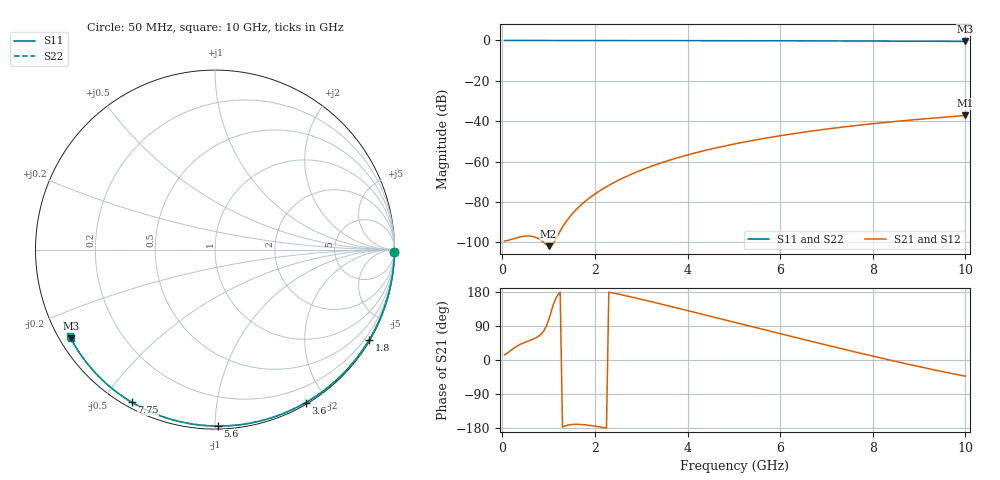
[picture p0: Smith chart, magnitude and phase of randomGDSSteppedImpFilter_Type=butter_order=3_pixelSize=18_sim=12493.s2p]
! freq	dB(S11)	phase(S11)	dB(S12)	phase(S12)
!  dB(S21)	phase(S21)	dB(S22)	phase(S22)
!S-par simulation data
#  GHz  S  DB  R 50
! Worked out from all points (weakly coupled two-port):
!   200 points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, 50 MHz to 10 GHz, reference 50 ohm
!   highest |S21| = -37.16 dB at 10 GHz (marker M1); lowest = -101.9 dB at 1 GHz (marker M2)
!   lowest |S11| = -0.5 dB at 10 GHz (marker M3), VSWR 34.53, Z = 1.56 - j14.1 ohm
!   |S11| at or under -10 dB: nowhere
!   |S22| runs from -0.5 to 0.0 dB; largest |S21 - S12| = 0
!   S11 on the Smith chart (normalised r, x): 50 MHz: open; 1.8 GHz: 0.03, -3.67; 3.6 GHz: 0.02, -1.75; 5.6 GHz: 0.02, -1.02; 7.75 GHz: 0.02, -0.59; 10 GHz: 0.03, -0.28
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0.05  -0.00 -0.9  -99.34 14.1  -99.34 14.1  -0.00 -0.9
0.5  -0.01 -8.6  -96.88 47.2  -96.88 47.2  -0.01 -8.6
1  -0.02 -17.1  -101.89 105.1  -101.89 105.1  -0.02 -17.1
1.75  -0.04 -29.6  -80.47 -170.7  -80.47 -170.7  -0.04 -29.7
1.8  -0.04 -30.5  -79.50 -171.3  -79.50 -171.3  -0.04 -30.5
1.95  -0.04 -32.9  -76.87 -173.6  -76.87 -173.6  -0.04 -33.0
2.1  -0.05 -35.4  -74.54 -176.5  -74.54 -176.5  -0.05 -35.4
2.3  -0.05 -38.7  -71.78 179.0  -71.78 179.0  -0.05 -38.7
2.5  -0.05 -41.9  -69.33 174.0  -69.33 174.0  -0.05 -42.0
2.9  -0.06 -48.4  -65.15 163.1  -65.15 163.1  -0.06 -48.4
3.4  -0.07 -56.3  -60.87 148.5  -60.87 148.5  -0.07 -56.3
3.6  -0.08 -59.4  -59.38 142.5  -59.38 142.5  -0.08 -59.5
4.3  -0.10 -70.1  -54.92 121.2  -54.92 121.2  -0.10 -70.2
5.05  -0.13 -81.2  -51.10 98.2  -51.10 98.2  -0.13 -81.4
5.6  -0.15 -89.1  -48.73 81.5  -48.73 81.5  -0.15 -89.3
6.15  -0.17 -96.9  -46.66 64.9  -46.66 64.9  -0.17 -97.1
6.7  -0.20 -104.5  -44.81 48.4  -44.81 48.4  -0.20 -104.8
7.2  -0.24 -111.3  -43.32 33.5  -43.32 33.5  -0.24 -111.7
7.75  -0.28 -118.6  -41.84 17.4  -41.84 17.4  -0.28 -119.1
8.35  -0.33 -126.6  -40.42 0.3  -40.42 0.3  -0.33 -127.1
9.2  -0.41 -137.8  -38.66 -22.7  -38.66 -22.7  -0.41 -138.5
10  -0.50 -148.4  -37.16 -42.7  -37.16 -42.7  -0.51 -149.2
